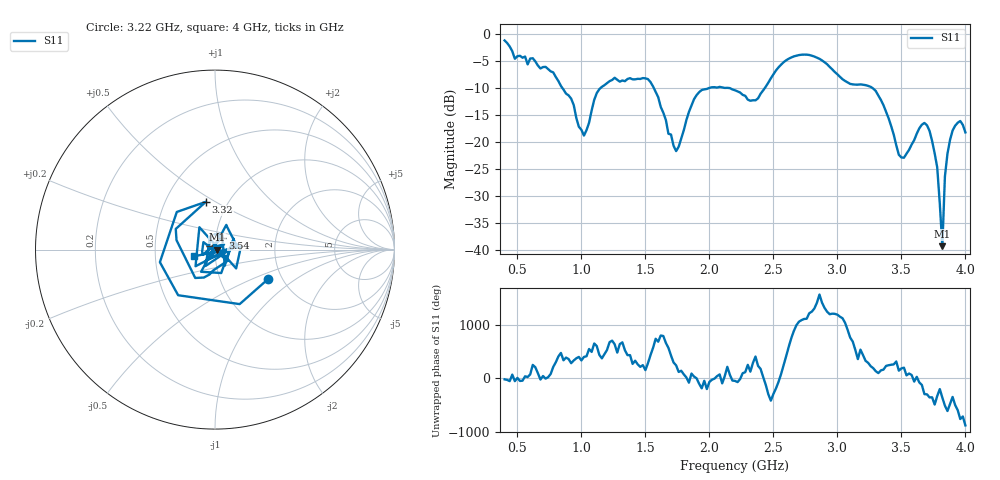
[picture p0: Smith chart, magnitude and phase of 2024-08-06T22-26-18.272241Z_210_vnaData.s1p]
!Created with skrf (http://scikit-rf.org).
# Hz S RI R 50.0
!freq ReS11 ImS11
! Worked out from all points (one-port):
!   181 points, 400 MHz to 4 GHz, reference 50 ohm
!   lowest |S11| = -39.2 dB at 3.82 GHz (marker M1), VSWR 1.02, Z = 51.1 - j0.00284 ohm
!   |S11| at or under -10 dB: 853.3 MHz to 1.147 GHz (293.4 MHz wide, 29.3 % of centre); 1.567 GHz to 1.991 GHz (423.4 MHz wide, 23.8 % of centre); 3.278 GHz to end of sweep (the widest 3 of 4)
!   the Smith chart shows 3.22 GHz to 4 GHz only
!   S11 on the Smith chart (normalised r, x): 3.22 GHz: 1.70, -0.63; 3.32 GHz: 0.79, +0.45; 3.54 GHz: 1.08, +0.14; 4 GHz: 0.79, -0.06
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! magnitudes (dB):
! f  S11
! 400 MHz  -1.1
! 480 MHz  -4.5
! 860 MHz  -10.2
! 1.02 GHz  -18.7
! 1.14 GHz  -10.1
! 1.3 GHz  -8.8
! 1.52 GHz  -8.3
! 1.72 GHz  -20.6
! 1.76 GHz  -20.8
! 1.92 GHz  -10.7
! 2.2 GHz  -10.4
! 2.36 GHz  -12.2
! 2.66 GHz  -4.1
! 2.86 GHz  -4.5
! 3.1 GHz  -9.2
! 3.22 GHz  -9.4
! 3.32 GHz  -11.3
! 3.48 GHz  -22.3
! 3.54 GHz  -22.1
! 3.56 GHz  -21.4
! 3.66 GHz  -16.7
! 3.72 GHz  -17.9
! 3.78 GHz  -24.6
! 3.82 GHz  -39.2
! 3.84 GHz  -26.3
! 3.88 GHz  -19.5
! 3.96 GHz  -16.0
! 4 GHz  -18.2
